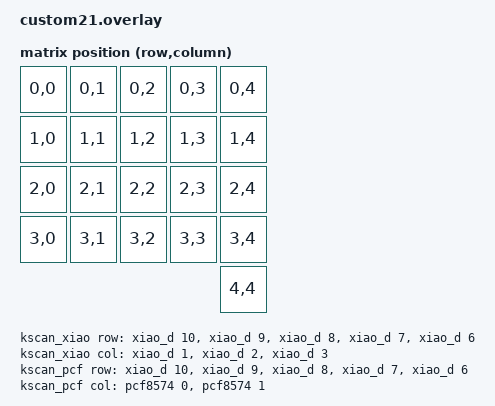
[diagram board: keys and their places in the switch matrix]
#include <dt-bindings/zmk/matrix_transform.h>
#include <dt-bindings/gpio/gpio.h>
#include <zephyr/dt-bindings/i2c/i2c.h>

/ {
    chosen {
        zmk,kscan = &kscan0;
        zmk,matrix-transform = &default_transform;
    };

    default_transform: keymap_transform0 {
        compatible = "zmk,matrix-transform";
        columns = <5>;
        rows = <5>;
        map = <
            RC(0,0) RC(0,1) RC(0,2) RC(0,3) RC(0,4)
            RC(1,0) RC(1,1) RC(1,2) RC(1,3) RC(1,4)
            RC(2,0) RC(2,1) RC(2,2) RC(2,3) RC(2,4)
            RC(3,0) RC(3,1) RC(3,2) RC(3,3) RC(3,4)
                                            RC(4,4)
        >;
    };

    /*
     * Composite kscan — two independent matrices, so PCF8574 init failure
     * can't poison the Xiao-only matrix.
     */
    kscan0: kscan_composite {
        compatible = "zmk,kscan-composite";
        rows = <5>;
        columns = <5>;

        xiao_matrix {
            kscan = <&kscan_xiao>;
        };

        pcf_matrix {
            kscan = <&kscan_pcf>;
            column-offset = <3>;
        };
    };

    kscan_xiao: kscan_xiao {
        compatible = "zmk,kscan-gpio-matrix";
        diode-direction = "col2row";
        wakeup-source;
        debounce-press-ms = <15>;
        debounce-release-ms = <15>;

        col-gpios
            = <&xiao_d 1 GPIO_ACTIVE_HIGH>
            , <&xiao_d 2 GPIO_ACTIVE_HIGH>
            , <&xiao_d 3 GPIO_ACTIVE_HIGH>
            ;

        row-gpios
            = <&xiao_d 10 (GPIO_ACTIVE_HIGH | GPIO_PULL_DOWN)>
            , <&xiao_d  9 (GPIO_ACTIVE_HIGH | GPIO_PULL_DOWN)>
            , <&xiao_d  8 (GPIO_ACTIVE_HIGH | GPIO_PULL_DOWN)>
            , <&xiao_d  7 (GPIO_ACTIVE_HIGH | GPIO_PULL_DOWN)>
            , <&xiao_d  6 (GPIO_ACTIVE_HIGH | GPIO_PULL_DOWN)>
            ;
    };

    kscan_pcf: kscan_pcf {
        compatible = "zmk,kscan-gpio-matrix";
        diode-direction = "col2row";
        debounce-press-ms = <15>;
        debounce-release-ms = <15>;

        col-gpios
            = <&pcf8574 0 GPIO_ACTIVE_HIGH>
            , <&pcf8574 1 GPIO_ACTIVE_HIGH>
            ;

        row-gpios
            = <&xiao_d 10 (GPIO_ACTIVE_HIGH | GPIO_PULL_DOWN)>
            , <&xiao_d  9 (GPIO_ACTIVE_HIGH | GPIO_PULL_DOWN)>
            , <&xiao_d  8 (GPIO_ACTIVE_HIGH | GPIO_PULL_DOWN)>
            , <&xiao_d  7 (GPIO_ACTIVE_HIGH | GPIO_PULL_DOWN)>
            , <&xiao_d  6 (GPIO_ACTIVE_HIGH | GPIO_PULL_DOWN)>
            ;
    };
};

&xiao_i2c {
    status = "okay";
    clock-frequency = <I2C_BITRATE_STANDARD>;   /* 100 kHz - slower for robustness */

    pcf8574: gpio@38 {
        compatible = "nxp,pcf8574";
        reg = <0x38>;
        gpio-controller;
        #gpio-cells = <2>;
        ngpios = <8>;
    };
};

&uart0 {
    status = "disabled";
};

&spi2 {
    status = "disabled";
};
